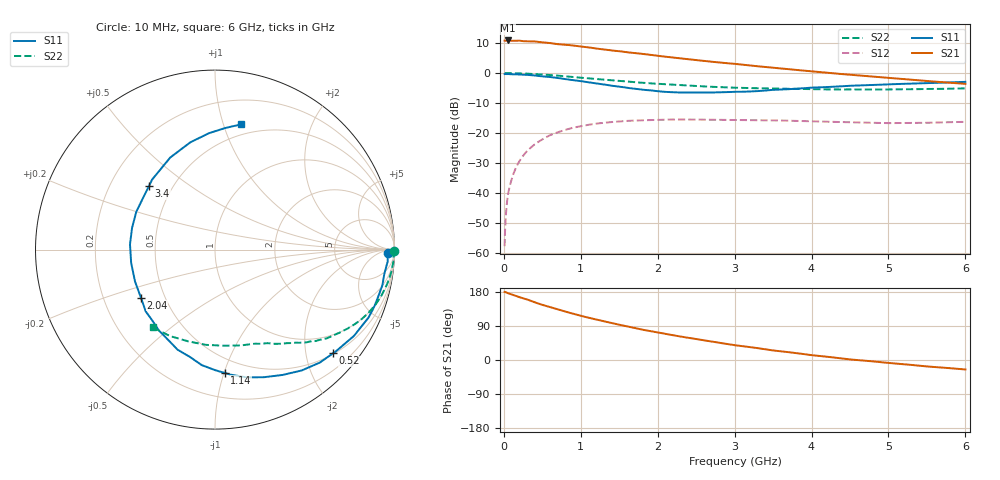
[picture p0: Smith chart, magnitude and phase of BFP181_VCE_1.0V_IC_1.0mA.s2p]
! Infineon Technologies  Discrete & RF Semiconductors
! BFP181
! VCE = 1.0 V,  IC =  1.0 mA
! Common Emitter S-Parameters:  Jan 2016
# GHz  S  MA  R  50
!  f  S11  S21  S12  S22
! GHz  MAG  ANG  MAG  ANG  MAG  ANG  MAG  ANG
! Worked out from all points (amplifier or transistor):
!   210 points, 10 MHz to 6 GHz, reference 50 ohm
!   highest |S21| = 10.9 dB at 50 MHz (marker M1)
!   |S21| within 3 dB of that: start of sweep to 1.299 GHz
!   unconditionally stable (mu >= 1): 2.9 GHz to end of sweep
!   at 185 MHz: K = 0.08, MSG = 20.5 dB, |S12| = -30.2 dB
!   at 1.52 GHz: K = 0.56, MSG = 11.7 dB, |S12| = -16.1 dB
!   at 6 GHz: K = 1.36, MAG = 2.8 dB, |S12| = -16.3 dB
!   S11 on the Smith chart (normalised r, x): 10 MHz: 43, -19; 520 MHz: 0.52, -2.56; 1.14 GHz: 0.38, -1.01; 2.04 GHz: 0.37, -0.26; 3.4 GHz: 0.37, +0.36; 6 GHz: 0.40, +1.15
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0.01  0.9616 -1.0  3.462 179.7  0.0013 85.4  0.9977 -0.3
0.015  0.9619 -1.3  3.454 179.5  0.0022 85.4  0.9957 -0.5
0.025  0.9624 -2.0  3.454 178.8  0.004 86.7  0.994 -1.0
0.05  0.9641 -4.0  3.492 176.6  0.0088 89.0  0.9955 -2.0
0.12  0.9528 -9.7  3.444 171.7  0.0201 82.9  0.9946 -4.7
0.2  0.9461 -16.3  3.466 166.0  0.0335 78.9  0.9888 -7.8
0.4  0.9112 -31.9  3.359 152.3  0.0646 69.1  0.9632 -15.2
0.52  0.8753 -41.3  3.233 144.4  0.081 62.7  0.9419 -19.4
0.8  0.7932 -61.7  2.976 127.7  0.113 50.6  0.8837 -28.0
1.02  0.7264 -77.4  2.749 115.7  0.1314 42.0  0.8326 -33.9
1.14  0.6891 -85.5  2.632 109.7  0.1398 37.6  0.8075 -36.8
1.56  0.5782 -114.3  2.257 90.5  0.158 25.8  0.7293 -44.9
1.8  0.5266 -131.7  2.089 80.0  0.1629 20.5  0.6882 -48.9
2.02  0.4947 -145.7  1.924 72.0  0.1664 16.0  0.6594 -52.2
2.04  0.4919 -147.1  1.91 71.3  0.1665 15.6  0.657 -52.5
2.54  0.4716 -179.8  1.624 54.0  0.1674 7.5  0.6027 -60.1
3.1  0.488 149.5  1.378 36.6  0.1647 0.8  0.5652 -68.6
3.4  0.5109 136.0  1.261 28.3  0.1634 -1.5  0.5551 -73.4
4.1  0.5766 113.2  1.04 10.8  0.1556 -5.6  0.5354 -86.8
4.5  0.6134 102.9  0.937 1.5  0.1511 -7.1  0.5331 -95.4
5.1  0.6547 91.3  0.808 -9.4  0.1466 -6.3  0.5329 -108.5
6  0.7126 78.2  0.66 -25.0  0.1537 -4.0  0.5558 -128.7
